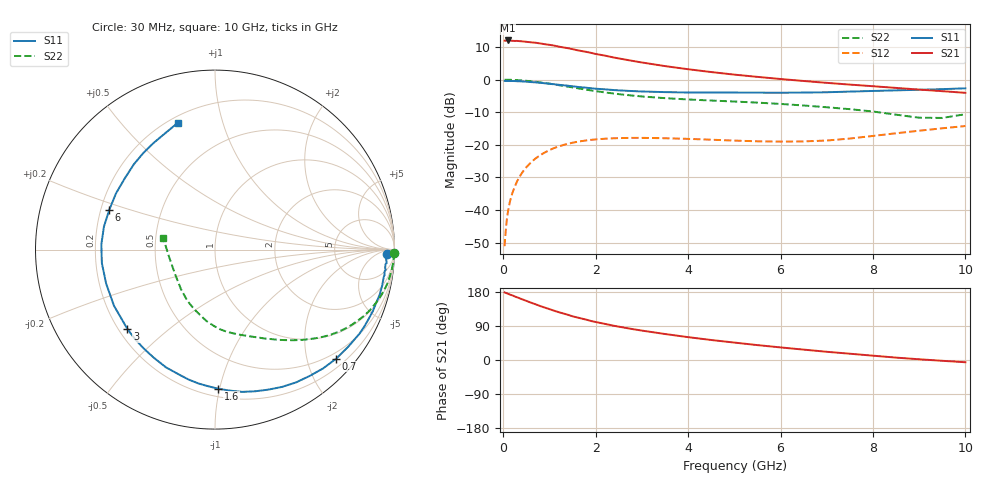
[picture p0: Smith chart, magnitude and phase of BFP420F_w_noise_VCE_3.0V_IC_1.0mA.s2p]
! Infineon Technologies  Discrete & RF Semiconductors
! BFP420F
! VCE =  3.0 V,  IC =  1.0 mA
! Common Emitter S-Parameters:  Sep 2011
# GHz  S  MA  R  50
!  f  S11  S21  S12  S22
! GHz  MAG  ANG  MAG  ANG  MAG  ANG  MAG  ANG
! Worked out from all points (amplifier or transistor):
!   54 points, 30 MHz to 10 GHz, reference 50 ohm
!   highest |S21| = 12.0 dB at 100 MHz (marker M1)
!   |S21| within 3 dB of that: start of sweep to 1.604 GHz
!   unconditionally stable (mu >= 1): 3.601 GHz to end of sweep
!   at 120 MHz: K = 0.01, MSG = 25.6 dB, |S12| = -39.2 dB
!   at 1.3 GHz: K = 0.21, MSG = 15.0 dB, |S12| = -20.0 dB
!   at 10 GHz: K = 1.83, MAG = -0.2 dB, |S12| = -14.2 dB
!   lowest NFmin = 0.80 dB at 450 MHz
!   S11 on the Smith chart (normalised r, x): 30 MHz: 33, -23; 700 MHz: 0.37, -2.56; 1.6 GHz: 0.25, -0.99; 3 GHz: 0.24, -0.37; 6 GHz: 0.23, +0.17; 10 GHz: 0.23, +0.72
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0.03  0.9601 -1.6  3.969 178.3  0.0028 88.9  0.9977 -1.0
0.06  0.9578 -4.0  3.963 177.0  0.0054 87.1  0.9977 -1.9
0.1  0.9534 -6.2  3.989 174.9  0.0092 87.2  0.996 -3.1
0.2  0.9527 -12.2  3.94 170.4  0.0185 83.7  0.9917 -6.3
0.3  0.9457 -18.3  3.927 165.4  0.0277 80.2  0.9839 -9.4
0.7  0.9084 -42.0  3.679 147.0  0.062 66.8  0.9279 -21.2
0.8  0.8949 -47.7  3.59 142.4  0.0695 63.5  0.9087 -24.0
1.1  0.8512 -64.0  3.329 130.1  0.0893 54.1  0.8452 -31.6
1.4  0.8073 -79.1  3.037 119.3  0.1041 46.0  0.781 -38.2
1.6  0.7756 -88.6  2.827 112.3  0.1114 41.0  0.7394 -42.1
1.7  0.7624 -92.8  2.743 109.3  0.1144 38.8  0.7194 -44.0
2  0.7263 -105.4  2.474 100.3  0.1212 32.8  0.6669 -49.2
2.4  0.692 -119.6  2.179 90.2  0.1264 26.2  0.6119 -55.2
3  0.6586 -137.8  1.833 77.6  0.1281 19.2  0.5527 -62.8
3.5  0.644 -150.9  1.614 68.6  0.1265 15.3  0.5203 -68.2
4.5  0.6348 -173.2  1.308 52.8  0.1201 11.5  0.4784 -77.5
5.5  0.6319 168.3  1.103 39.3  0.1135 13.1  0.4446 -86.4
6  0.6294 159.4  1.023 33.2  0.1123 15.7  0.4242 -91.1
7  0.6408 141.5  0.893 21.7  0.1166 22.8  0.3773 -102.0
8.5  0.6855 120.0  0.747 6.3  0.1506 29.3  0.2903 -130.9
9.5  0.7153 110.6  0.666 -2.1  0.1796 27.8  0.2588 -170.5
10  0.7366 106.3  0.628 -5.9  0.1946 25.9  0.2953 167.5
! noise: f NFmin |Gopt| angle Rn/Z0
0.45  0.8  0.67  17  0.46
0.9  0.92  0.64  37  0.43
1.9  1.38  0.51  82  0.32
2.4  1.57  0.51  97  0.3
3.5  2.11  0.52  131  0.19
